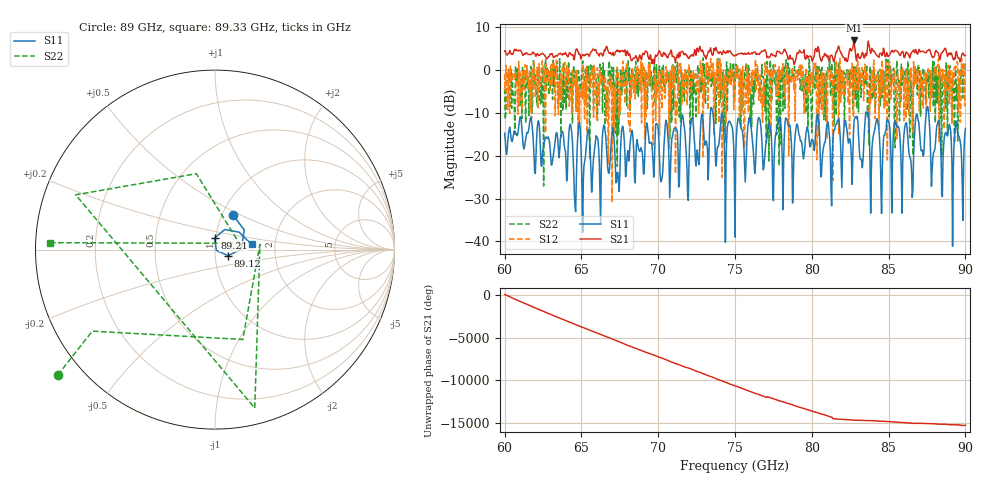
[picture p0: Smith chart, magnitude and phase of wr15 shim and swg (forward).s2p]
!Created with skrf (http://scikit-rf.org).
# GHz S RI R 50.0
!freq ReS11 ImS11 ReS21 ImS21 ReS12 ImS12 ReS22 ImS22
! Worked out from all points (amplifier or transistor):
!   721 points, 60 GHz to 90 GHz, reference 50 ohm
!   highest |S21| = 6.9 dB at 82.75 GHz (marker M1)
!   |S21| within 3 dB of that: 86.91 GHz to 87.75 GHz (834 MHz wide, 0.955 % of centre)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
!   unconditionally stable (mu >= 1): 60.32906 GHz to 60.33581 GHz; 61.10349 GHz to 61.1389 GHz; 86.52392 GHz to 86.61093 GHz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
!   at 65 GHz: K = 0.55, MSG = 3.9 dB, |S12| = -4.9 dB
!   at 75 GHz: K = 0.86, MSG = 2.6 dB, |S12| = -1.7 dB
!   at 90 GHz: K = 0.81, MSG = 0.9 dB, |S12| = 1.6 dB
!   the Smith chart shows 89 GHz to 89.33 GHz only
!   S11 on the Smith chart (normalised r, x): 89 GHz: 1.12, +0.46; 89.12 GHz: 1.16, -0.08; 89.21 GHz: 0.99, +0.13; 89.33 GHz: 1.51, +0.09
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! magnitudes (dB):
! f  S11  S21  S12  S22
! 60 GHz  -14.7  4.4  -0.9  -4.3
! 65 GHz  -20.9  3.0  -4.9  -0.8
! 66.5 GHz  -13.0  4.8  -4.1  -0.1
! 67.38 GHz  -23.9  4.4  0.0  -0.4
! 67.67 GHz  -13.1  4.4  0.0  -0.1
! 70 GHz  -13.9  3.9  0.0  -0.7
! 71.62 GHz  -11.3  4.1  -2.6  -0.9
! 71.92 GHz  -29.1  3.1  -5.2  -1.9
! 73.5 GHz  -9.0  3.6  -1.7  -2.2
! 75 GHz  -39.0  3.5  -1.7  -4.2
! 80 GHz  -16.2  2.6  -3.0  -14.6
! 82.75 GHz  -11.9  6.9  -7.0  0.8
! 84.25 GHz  -11.3  3.3  -1.0  -1.2
! 84.54 GHz  -33.5  4.0  -5.6  -3.3
! 85 GHz  -12.0  3.4  -1.6  1.0
! 86.5 GHz  -24.0  4.2  -2.1  -7.6
! 86.83 GHz  -10.2  4.1  -0.3  -1.4
! 89 GHz  -13.2  3.7  -0.6  1.0
! 89.12 GHz  -21.9  3.5  -12.5  -12.0
! 89.21 GHz  -23.8  2.5  -4.0  -1.6
! 89.33 GHz  -13.7  2.7  -0.1  -0.7
! 90 GHz  -13.6  3.4  1.6  -0.2
